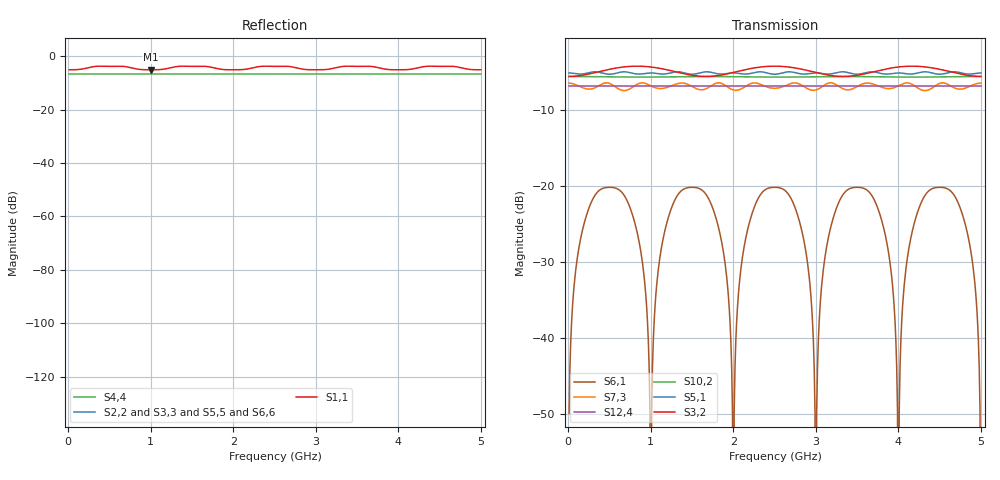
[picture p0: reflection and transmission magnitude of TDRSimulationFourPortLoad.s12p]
# MHz MA S R 50.0
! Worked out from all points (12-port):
!   500 points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, 10 MHz to 5 GHz, reference 50 ohm
!   strongest paths, dB at 10 MHz, 1.26 GHz, 2.51 GHz, 3.76 GHz, 5 GHz:
!     S3,2: -5.6, -4.9, -4.2, -4.8, -5.6
!     S5,1: -5.1, -5.0, -5.3, -5.1, -5.1
!     S10,2: -5.6, -5.6, -5.7, -5.6, -5.6
!     S12,4: -6.8, -6.8, -6.8, -6.8, -6.8
!     S7,3: -6.4, -6.8, -7.1, -6.8, -6.4
!     S6,1: -49.9, -22.6, -20.2, -23.2, -
!   lowest |S11| = -5.1 dB at 1 GHz (marker M1), VSWR 3.50, Z = 175 + j0 ohm
!   |S11| at or under -10 dB: nowhere
